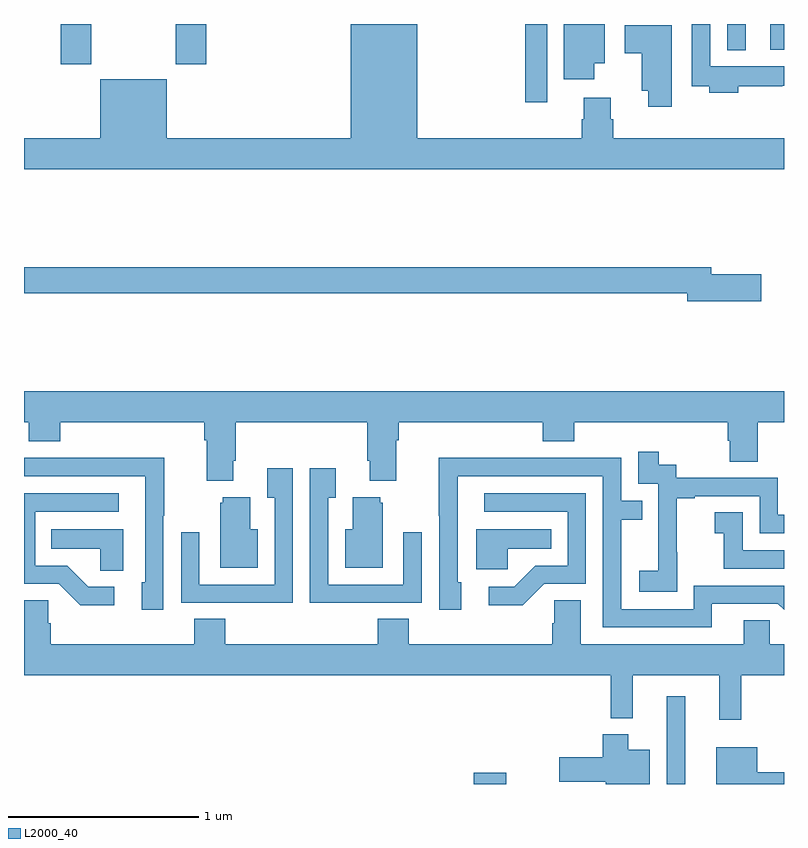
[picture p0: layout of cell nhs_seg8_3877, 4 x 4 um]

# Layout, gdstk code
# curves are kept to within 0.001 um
import gdstk
lib = gdstk.Library(unit=1e-6, precision=1e-09)
def R(c, l, rs):  # rectangles x0, y0, x1, y1
    for r in rs: c.add(gdstk.rectangle(r[:2], r[2:], *l))
def P(c, l, *ps):  # polygons
    for p in ps: c.add(gdstk.Polygon(p, *l))
L2000_40 = (2000, 40)

nhs_seg8_3877 = lib.new_cell('nhs_seg8_3877')
R(nhs_seg8_3877, L2000_40, [(351.368,1143.9,351.538,1143.958), (352.383,1143.9,352.48,1144.363), (351.637,1147.488,351.753,1147.9), (349.193,1147.689,349.353,1147.9), (349.798,1147.689,349.958,1147.9), (352.701,1147.763,352.798,1147.9), (352.928,1147.764,353,1147.9)])
P(nhs_seg8_3877, L2000_40, [(349.4,1147.609),(349.4,1147.3),(349,1147.3),(349,1147.136),(353,1147.136),(353,1147.3),(352.1,1147.3),(352.1,1147.398),(352.087,1147.398),(352.087,1147.513),(351.947,1147.513),(351.947,1147.398),(351.935,1147.398),(351.935,1147.3),(351.07,1147.3),(351.07,1147.9),(350.72,1147.9),(350.72,1147.3),(349.75,1147.3),(349.75,1147.609)],
  [(352.76,1147.572),(352.991,1147.572),(352.991,1147.574),(353,1147.574),(353,1147.678),(352.611,1147.678),(352.611,1147.9),(352.515,1147.9),(352.515,1147.572),(352.607,1147.572),(352.607,1147.538),(352.76,1147.538)],
  [(352,1147.694),(352.057,1147.694),(352.057,1147.9),(351.842,1147.9),(351.842,1147.608),(352,1147.608)],
  [(352.408,1147.894),(352.161,1147.894),(352.161,1147.747),(352.25,1147.747),(352.25,1147.55),(352.286,1147.55),(352.286,1147.464),(352.408,1147.464)],
  [(352.879,1146.584),(352.618,1146.584),(352.618,1146.62),(349,1146.62),(349,1146.484),(352.49,1146.484),(352.49,1146.442),(352.879,1146.442)],
  [(350.101,1145.602),(350.114,1145.602),(350.114,1145.804),(350.807,1145.804),(350.807,1145.602),(350.819,1145.602),(350.819,1145.495),(350.959,1145.495),(350.959,1145.708),(350.972,1145.708),(350.972,1145.804),(351.731,1145.804),(351.731,1145.705),(351.896,1145.705),(351.896,1145.804),(352.703,1145.804),(352.703,1145.706),(352.715,1145.706),(352.715,1145.596),(352.863,1145.596),(352.863,1145.804),(353,1145.804),(353,1145.968),(349,1145.968),(349,1145.804),(349.025,1145.804),(349.025,1145.705),(349.19,1145.705),(349.19,1145.804),(349.949,1145.804),(349.949,1145.708),(349.961,1145.708),(349.961,1145.495),(350.101,1145.495)],
  [(352.437,1145.119),(352.436,1145.119),(352.436,1145.403),(352.531,1145.403),(352.531,1145.415),(352.872,1145.415),(352.872,1145.22),(353,1145.22),(353,1145.316),(352.968,1145.316),(352.968,1145.511),(352.434,1145.511),(352.434,1145.58),(352.342,1145.58),(352.342,1145.65),(352.233,1145.65),(352.233,1145.481),(352.338,1145.481),(352.338,1145.252),(352.337,1145.252),(352.337,1145.023),(352.239,1145.023),(352.239,1144.913),(352.437,1144.913)],
  [(352.621,1144.848),(352.968,1144.848),(353,1144.816),(353,1144.944),(352.524,1144.944),(352.524,1144.821),(352.143,1144.821),(352.143,1145.29),(352.253,1145.29),(352.253,1145.391),(352.143,1145.391),(352.143,1145.616),(351.647,1145.616),(351.647,1145.618),(351.184,1145.618),(351.184,1145.311),(351.186,1145.311),(351.186,1144.818),(351.301,1144.818),(351.301,1144.962),(351.282,1144.962),(351.283,1145.52),(352.047,1145.52),(352.047,1144.725),(352.621,1144.725)],
  [(349.734,1145.311),(349.737,1145.311),(349.737,1145.618),(349.273,1145.618),(349.273,1145.616),(349,1145.616),(349,1145.52),(349.638,1145.52),(349.638,1144.962),(349.619,1144.962),(349.619,1144.818),(349.734,1144.818)],
  [(350.415,1145.563),(350.279,1145.563),(350.279,1145.407),(350.319,1145.407),(350.319,1144.95),(349.923,1144.95),(349.923,1145.224),(349.827,1145.224),(349.827,1144.854),(350.143,1144.854),(350.143,1144.853),(350.415,1144.853)],
  [(350.777,1144.854),(351.093,1144.854),(351.093,1145.224),(350.997,1145.224),(350.997,1144.95),(350.601,1144.95),(350.601,1145.407),(350.641,1145.407),(350.641,1145.563),(350.505,1145.563),(350.505,1144.853),(350.777,1144.853)],
  [(351.738,1144.953),(351.957,1144.953),(351.957,1145.43),(351.423,1145.43),(351.423,1145.334),(351.861,1145.334),(351.861,1145.049),(351.692,1145.049),(351.581,1144.938),(351.447,1144.938),(351.447,1144.841),(351.625,1144.841)],
  [(349.474,1144.938),(349.339,1144.938),(349.228,1145.049),(349.059,1145.049),(349.059,1145.334),(349.498,1145.334),(349.498,1145.43),(349,1145.43),(349,1144.953),(349.182,1144.953),(349.295,1144.841),(349.474,1144.841)],
  [(350.887,1145.379),(350.876,1145.379),(350.876,1145.41),(350.729,1145.41),(350.729,1145.242),(350.69,1145.242),(350.69,1145.039),(350.887,1145.039)],
  [(350.23,1145.242),(350.191,1145.242),(350.191,1145.41),(350.045,1145.41),(350.045,1145.379),(350.033,1145.379),(350.033,1145.039),(350.23,1145.039)],
  [(353,1145.13),(352.782,1145.13),(352.782,1145.329),(352.635,1145.329),(352.635,1145.219),(352.684,1145.219),(352.684,1145.034),(353,1145.034)],
  [(351.546,1145.138),(351.776,1145.138),(351.776,1145.242),(351.38,1145.242),(351.38,1145.03),(351.546,1145.03)],
  [(349.522,1145.242),(349.144,1145.242),(349.144,1145.138),(349.401,1145.138),(349.401,1145.023),(349.522,1145.023)],
  [(352.775,1144.472),(353,1144.472),(353,1144.636),(352.926,1144.636),(352.926,1144.763),(352.787,1144.763),(352.787,1144.636),(351.931,1144.636),(351.931,1144.868),(351.792,1144.868),(351.792,1144.745),(351.779,1144.745),(351.779,1144.636),(351.026,1144.636),(351.026,1144.769),(350.861,1144.769),(350.861,1144.636),(350.06,1144.636),(350.06,1144.769),(349.895,1144.769),(349.895,1144.636),(349.142,1144.636),(349.142,1144.745),(349.128,1144.745),(349.128,1144.868),(349,1144.868),(349,1144.472),(352.087,1144.472),(352.087,1144.247),(352.205,1144.247),(352.205,1144.472),(352.658,1144.472),(352.658,1144.239),(352.775,1144.239)],
  [(352.294,1144.081),(352.18,1144.081),(352.18,1144.162),(352.046,1144.162),(352.046,1144.041),(351.816,1144.041),(351.816,1143.911),(352.062,1143.911),(352.062,1143.9),(352.294,1143.9)],
  [(353,1143.962),(352.858,1143.962),(352.858,1144.093),(352.643,1144.093),(352.643,1143.9),(353,1143.9)])

lib.write_gds('nhs_seg8_3877.gds')
